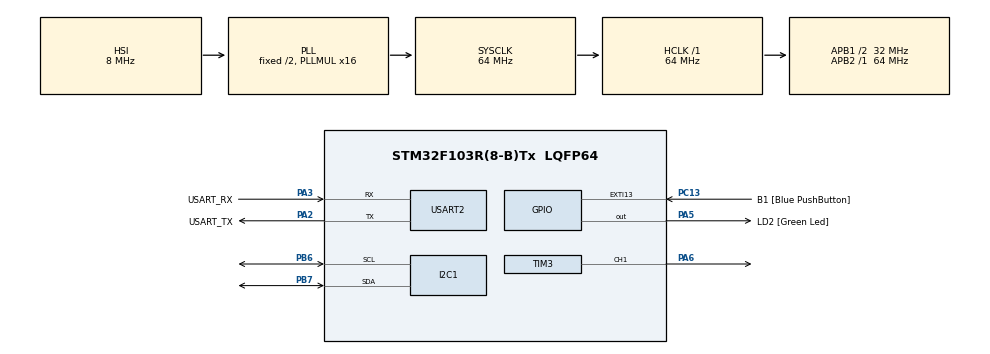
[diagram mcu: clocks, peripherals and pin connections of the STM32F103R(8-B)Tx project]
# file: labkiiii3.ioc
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Mcu.Family=STM32F1
Mcu.Name=STM32F103R(8-B)Tx
Mcu.Package=LQFP64
NVIC.EXTI15_10_IRQn=true\:0\:0\:false\:false\:true\:true\:true\:true
NVIC.PriorityGroup=NVIC_PRIORITYGROUP_4
NVIC.TIM3_IRQn=true\:0\:0\:false\:false\:true\:true\:true\:true
PA13.GPIO_Label=TMS
PA13.Mode=Serial_Wire
PA13.Signal=SYS_JTMS-SWDIO
PA14.GPIO_Label=TCK
PA14.Mode=Serial_Wire
PA14.Signal=SYS_JTCK-SWCLK
PA2.GPIO_Label=USART_TX
PA2.GPIO_Mode=GPIO_MODE_AF_PP
PA2.GPIO_PuPd=GPIO_NOPULL
PA2.GPIO_Speed=GPIO_SPEED_FREQ_LOW
PA2.Mode=Asynchronous
PA2.Signal=USART2_TX
PA3.GPIO_Label=USART_RX
PA3.GPIO_Mode=GPIO_MODE_AF_PP
PA3.GPIO_PuPd=GPIO_NOPULL
PA3.GPIO_Speed=GPIO_SPEED_FREQ_LOW
PA3.Mode=Asynchronous
PA3.Signal=USART2_RX
PA5.GPIO_Label=LD2 [Green Led]
PA5.GPIO_ModeDefaultOutputPP=GPIO_MODE_OUTPUT_PP
PA5.GPIO_PuPd=GPIO_NOPULL
PA5.GPIO_Speed=GPIO_SPEED_FREQ_LOW
PA5.Signal=GPIO_Output
PA6.Signal=S_TIM3_CH1
PB3.GPIO_Label=SWO
PB3.Signal=SYS_JTDO-TRACESWO
PB6.Mode=I2C
PB6.Signal=I2C1_SCL
PB7.Mode=I2C
PB7.Signal=I2C1_SDA
PC13-TAMPER-RTC.GPIO_Label=B1 [Blue PushButton]
PC13-TAMPER-RTC.GPIO_PuPd=GPIO_NOPULL
PC13-TAMPER-RTC.Signal=GPXTI13
PC14-OSC32_IN.Mode=LSE-External-Oscillator
PC14-OSC32_IN.Signal=RCC_OSC32_IN
PC15-OSC32_OUT.Mode=LSE-External-Oscillator
PC15-OSC32_OUT.Signal=RCC_OSC32_OUT
PD0-OSC_IN.Mode=HSE-External-Clock-Source
PD0-OSC_IN.Signal=RCC_OSC_IN
PD1-OSC_OUT.Mode=HSE-External-Clock-Source
PD1-OSC_OUT.Signal=RCC_OSC_OUT
ProjectManager.HeapSize=0x200
ProjectManager.StackSize=0x400
ProjectManager.TargetToolchain=STM32CubeIDE
RCC.AHBFreq_Value=64000000
RCC.APB1CLKDivider=RCC_HCLK_DIV2
RCC.APB1Freq_Value=32000000
RCC.APB1TimFreq_Value=64000000
RCC.APB2Freq_Value=64000000
RCC.APB2TimFreq_Value=64000000
RCC.HCLKFreq_Value=64000000
RCC.PLLMUL=RCC_PLL_MUL16
RCC.RTCClockSelection=RCC_RTCCLKSOURCE_LSE
RCC.SYSCLKFreq_VALUE=64000000
RCC.SYSCLKSource=RCC_SYSCLKSOURCE_PLLCLK
RCC.USBFreq_Value=64000000
SH.S_TIM3_CH1.0=TIM3_CH1,PWM Generation1 CH1
TIM3.Channel-PWM\ Generation1\ CH1=TIM_CHANNEL_1
TIM3.Period=19999
TIM3.Prescaler=63
USART2.VirtualMode=VM_ASYNC
VP_TIM3_VS_ClockSourceINT.Mode=Internal
board=NUCLEO-F103RB

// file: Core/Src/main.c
/* USER CODE BEGIN Header */
/**
  ******************************************************************************
  * @file           : main.c
  * @brief          : Main program body
  ******************************************************************************
  * @attention
  *
  * Copyright (c) 2025 STMicroelectronics.
  * All rights reserved.
  *
  * This software is licensed under terms that can be found in the LICENSE file
  * in the root directory of this software component.
  * If no LICENSE file comes with this software, it is provided AS-IS.
  *
  ******************************************************************************
  */
/* USER CODE END Header */
#include "main.h"

/* USER CODE BEGIN Includes */
#include "stdio.h"
#include "string.h"
#include <inttypes.h>
/* USER CODE END Includes */

/* USER CODE BEGIN PD */

//Stałe, definiujące rejestry układu
#define LSM303D_ADDR			0x3a
#define LSM303D_TEMP_OUT			0x05
#define LSM303D_STATUS_M			0x07
#define LSM303D_OUT_X_M				0x08
#define LSM303D_OUT_Y_M				0x0a
#define LSM303D_OUT_Z_M				0x0c
#define LSM303D_WHO_AM_I			0x0f
#define LSM303D_CTRL0				0x1f
#define LSM303D_CTRL1				0x20
#define LSM303D_CTRL5				0x24
#define LSM303D_STATUS				0x27
#define LSM303D_OUT_X_A				0x28
#define LSM303D_OUT_Y_A				0x2a
#define LSM303D_OUT_Z_A				0x2c
/* USER CODE END PD */

I2C_HandleTypeDef hi2c1;

TIM_HandleTypeDef htim3;

UART_HandleTypeDef huart2;

void SystemClock_Config(void);
static void MX_GPIO_Init(void);
static void MX_USART2_UART_Init(void);
static void MX_I2C1_Init(void);
static void MX_TIM3_Init(void);
/* USER CODE BEGIN PFP */

//prototypy utworzonych funkcji
uint8_t lsm_read_reg(uint8_t reg);
int16_t lsm_read_value(uint8_t reg);
void lsm_write_reg(uint8_t reg, uint8_t value);
int16_t map_value(int16_t value, int16_t in_min, int16_t in_max, int16_t out_min, int16_t out_max);
/* USER CODE END PFP */

int main(void)
{

  /* MCU Configuration--------------------------------------------------------*/

  /* Reset of all peripherals, Initializes the Flash interface and the Systick. */
  HAL_Init();

  /* Configure the system clock */
  SystemClock_Config();

  /* Initialize all configured peripherals */
  MX_GPIO_Init();
  MX_USART2_UART_Init();
  MX_I2C1_Init();
  MX_TIM3_Init();
  /* USER CODE BEGIN 2 */

  //uruchomienie kanału PWM sterujacego serwomechanizmem
  HAL_TIM_PWM_Start(&htim3, TIM_CHANNEL_1);
  /* USER CODE END 2 */

  /* Infinite loop */
  /* USER CODE BEGIN WHILE */

  //sprawdzanie polaczenia z akcelerometrem
  printf("Wyszukiwanie akcelerometru...\r\n");
  uint8_t who_am_i = lsm_read_reg(0xF);
  	printf("WHO_AM_I: 0x%X\n", who_am_i);
  	 if (who_am_i == 0x49) {
  		 printf("Znaleziono akcelerometr LSM303D\r\n");
  	 } else {
  		 printf("Niepoprawna odpowiedź układu (0x%02X)\r\n", who_am_i);
  	 }

  	//konfiguracja akcelerometru
  	lsm_write_reg(LSM303D_CTRL1, 0x40|0x07); // AODR2 (25Hz) | AXEN | AYEN | AZEN
  	lsm_write_reg(LSM303D_CTRL5, 0x80|0x10); // TEMP_EN | M_ODR2 (50Hz)
  	HAL_Delay(500);
  while (1)
  {

	  //odczytywanie wychylenia
	  int16_t a_x = lsm_read_value(LSM303D_OUT_X_A);
	  HAL_Delay(200);

	  //mapowanie wychylenia do wypelnienia PWM
	  uint16_t pwm_value = map_value(a_x, -16000, 16000, 0, 2500);

	  //sterowanie serwem
	  __HAL_TIM_SET_COMPARE(&htim3, TIM_CHANNEL_1, pwm_value);
	  printf("X = %d Xnew = %d\r\n", a_x, pwm_value);
    /* USER CODE END WHILE */

  }
}

void SystemClock_Config(void)
{
  RCC_OscInitTypeDef RCC_OscInitStruct = {0};
  RCC_ClkInitTypeDef RCC_ClkInitStruct = {0};

  /** Initializes the RCC Oscillators according to the specified parameters
  * in the RCC_OscInitTypeDef structure.
  */
  RCC_OscInitStruct.OscillatorType = RCC_OSCILLATORTYPE_HSI;
  RCC_OscInitStruct.HSIState = RCC_HSI_ON;
  RCC_OscInitStruct.HSICalibrationValue = RCC_HSICALIBRATION_DEFAULT;
  RCC_OscInitStruct.PLL.PLLState = RCC_PLL_ON;
  RCC_OscInitStruct.PLL.PLLSource = RCC_PLLSOURCE_HSI_DIV2;
  RCC_OscInitStruct.PLL.PLLMUL = RCC_PLL_MUL16;
  if (HAL_RCC_OscConfig(&RCC_OscInitStruct) != HAL_OK)
  {
    Error_Handler();
  }

  /** Initializes the CPU, AHB and APB buses clocks
  */
  RCC_ClkInitStruct.ClockType = RCC_CLOCKTYPE_HCLK|RCC_CLOCKTYPE_SYSCLK
                              |RCC_CLOCKTYPE_PCLK1|RCC_CLOCKTYPE_PCLK2;
  RCC_ClkInitStruct.SYSCLKSource = RCC_SYSCLKSOURCE_PLLCLK;
  RCC_ClkInitStruct.AHBCLKDivider = RCC_SYSCLK_DIV1;
  RCC_ClkInitStruct.APB1CLKDivider = RCC_HCLK_DIV2;
  RCC_ClkInitStruct.APB2CLKDivider = RCC_HCLK_DIV1;

  if (HAL_RCC_ClockConfig(&RCC_ClkInitStruct, FLASH_LATENCY_2) != HAL_OK)
  {
    Error_Handler();
  }
}

static void MX_I2C1_Init(void)
{

  hi2c1.Instance = I2C1;
  hi2c1.Init.ClockSpeed = 100000;
  hi2c1.Init.DutyCycle = I2C_DUTYCYCLE_2;
  hi2c1.Init.OwnAddress1 = 0;
  hi2c1.Init.AddressingMode = I2C_ADDRESSINGMODE_7BIT;
  hi2c1.Init.DualAddressMode = I2C_DUALADDRESS_DISABLE;
  hi2c1.Init.OwnAddress2 = 0;
  hi2c1.Init.GeneralCallMode = I2C_GENERALCALL_DISABLE;
  hi2c1.Init.NoStretchMode = I2C_NOSTRETCH_DISABLE;
  if (HAL_I2C_Init(&hi2c1) != HAL_OK)
  {
    Error_Handler();
  }

}

static void MX_TIM3_Init(void)
{

  TIM_ClockConfigTypeDef sClockSourceConfig = {0};
  TIM_MasterConfigTypeDef sMasterConfig = {0};
  TIM_OC_InitTypeDef sConfigOC = {0};

  htim3.Instance = TIM3;
  htim3.Init.Prescaler = 63;
  htim3.Init.CounterMode = TIM_COUNTERMODE_UP;
  htim3.Init.Period = 19999;
  htim3.Init.ClockDivision = TIM_CLOCKDIVISION_DIV1;
  htim3.Init.AutoReloadPreload = TIM_AUTORELOAD_PRELOAD_DISABLE;
  if (HAL_TIM_Base_Init(&htim3) != HAL_OK)
  {
    Error_Handler();
  }
  sClockSourceConfig.ClockSource = TIM_CLOCKSOURCE_INTERNAL;
  if (HAL_TIM_ConfigClockSource(&htim3, &sClockSourceConfig) != HAL_OK)
  {
    Error_Handler();
  }
  if (HAL_TIM_PWM_Init(&htim3) != HAL_OK)
  {
    Error_Handler();
  }
  sMasterConfig.MasterOutputTrigger = TIM_TRGO_RESET;
  sMasterConfig.MasterSlaveMode = TIM_MASTERSLAVEMODE_DISABLE;
  if (HAL_TIMEx_MasterConfigSynchronization(&htim3, &sMasterConfig) != HAL_OK)
  {
    Error_Handler();
  }
  sConfigOC.OCMode = TIM_OCMODE_PWM1;
  sConfigOC.Pulse = 0;
  sConfigOC.OCPolarity = TIM_OCPOLARITY_HIGH;
  sConfigOC.OCFastMode = TIM_OCFAST_DISABLE;
  if (HAL_TIM_PWM_ConfigChannel(&htim3, &sConfigOC, TIM_CHANNEL_1) != HAL_OK)
  {
    Error_Handler();
  }
  HAL_TIM_MspPostInit(&htim3);

}

static void MX_USART2_UART_Init(void)
{

  huart2.Instance = USART2;
  huart2.Init.BaudRate = 115200;
  huart2.Init.WordLength = UART_WORDLENGTH_8B;
  huart2.Init.StopBits = UART_STOPBITS_1;
  huart2.Init.Parity = UART_PARITY_NONE;
  huart2.Init.Mode = UART_MODE_TX_RX;
  huart2.Init.HwFlowCtl = UART_HWCONTROL_NONE;
  huart2.Init.OverSampling = UART_OVERSAMPLING_16;
  if (HAL_UART_Init(&huart2) != HAL_OK)
  {
    Error_Handler();
  }

}

static void MX_GPIO_Init(void)
{
  GPIO_InitTypeDef GPIO_InitStruct = {0};

  /* GPIO Ports Clock Enable */
  __HAL_RCC_GPIOC_CLK_ENABLE();
  __HAL_RCC_GPIOD_CLK_ENABLE();
  __HAL_RCC_GPIOA_CLK_ENABLE();
  __HAL_RCC_GPIOB_CLK_ENABLE();

  /*Configure GPIO pin Output Level */
  HAL_GPIO_WritePin(LD2_GPIO_Port, LD2_Pin, GPIO_PIN_RESET);

  /*Configure GPIO pin : B1_Pin */
  GPIO_InitStruct.Pin = B1_Pin;
  GPIO_InitStruct.Mode = GPIO_MODE_IT_RISING;
  GPIO_InitStruct.Pull = GPIO_NOPULL;
  HAL_GPIO_Init(B1_GPIO_Port, &GPIO_InitStruct);

  /*Configure GPIO pin : LD2_Pin */
  GPIO_InitStruct.Pin = LD2_Pin;
  GPIO_InitStruct.Mode = GPIO_MODE_OUTPUT_PP;
  GPIO_InitStruct.Pull = GPIO_NOPULL;
  GPIO_InitStruct.Speed = GPIO_SPEED_FREQ_LOW;
  HAL_GPIO_Init(LD2_GPIO_Port, &GPIO_InitStruct);

  /* EXTI interrupt init*/
  HAL_NVIC_SetPriority(EXTI15_10_IRQn, 0, 0);
  HAL_NVIC_EnableIRQ(EXTI15_10_IRQn);

}

/* USER CODE BEGIN 4 */
int __io_putchar(int ch)
{
    HAL_UART_Transmit(&huart2, (uint8_t*)&ch, 1, HAL_MAX_DELAY);
    return ch;
}
uint8_t lsm_read_reg(uint8_t reg)
{
    uint8_t data;
    HAL_I2C_Mem_Read(&hi2c1, LSM303D_ADDR, reg, I2C_MEMADD_SIZE_8BIT, &data, 1, HAL_MAX_DELAY);
    return data;
}
int16_t lsm_read_value(uint8_t reg)
{
	int16_t value = 0;
	HAL_I2C_Mem_Read(&hi2c1, LSM303D_ADDR, reg | 0x80, 1, (uint8_t*)&value, sizeof(value), HAL_MAX_DELAY);
	return value;
}
void lsm_write_reg(uint8_t reg, uint8_t value)
{
	HAL_I2C_Mem_Write(&hi2c1, LSM303D_ADDR, reg, 1, &value, sizeof(value), HAL_MAX_DELAY);
}
int16_t map_value(int16_t value, int16_t in_min, int16_t in_max, int16_t out_min, int16_t out_max) {
    return (int16_t)((((int32_t)(value - in_min)) * (out_max - out_min)) / (in_max - in_min) + out_min);
}
/* USER CODE END 4 */

void Error_Handler(void)
{
  __disable_irq();
  while (1)
  {
  }
}
